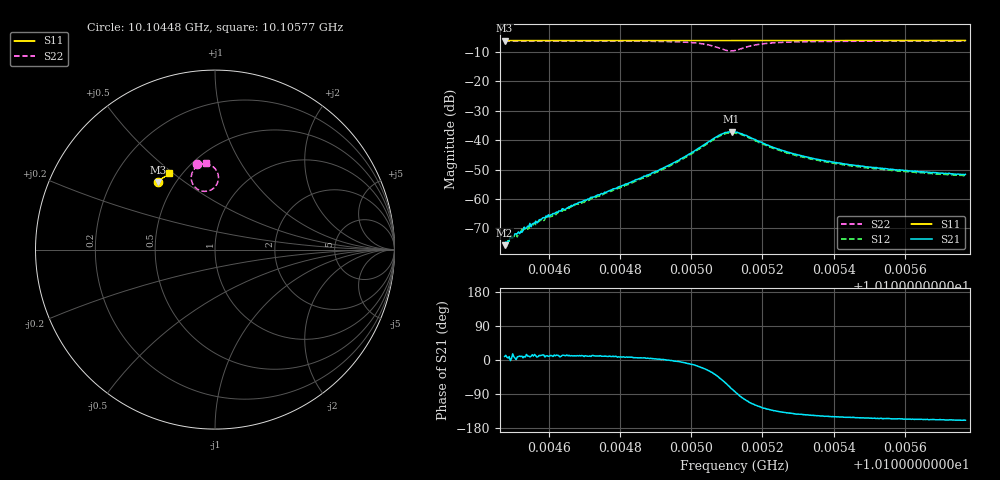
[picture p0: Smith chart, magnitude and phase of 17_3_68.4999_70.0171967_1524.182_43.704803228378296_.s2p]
#  HZ  S  RI  R  50.00
! Rohde & Schwarz Vector Network Analyzer
! Rohde-Schwarz,ZNB20-2Port,1311601062101988,3.16
! Created: UTC 3/20/2024, 4:49:16 PM
! freq[Hz]  re:S11  im:S11  re:S21  im:S21  re:S12  im:S12  re:S22  im:S22
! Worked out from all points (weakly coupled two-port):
!   401 points, 10.10448 GHz to 10.10577 GHz, reference 50 ohm
!   highest |S21| = -37.09 dB at 10.10511 GHz (marker M1); lowest = -75.8 dB at 10.10448 GHz (marker M2)
!   lowest |S11| = -6.2 dB at 10.10448 GHz (marker M3), VSWR 2.94, Z = 20.2 + j20 ohm
!   |S11| at or under -10 dB: nowhere
!   |S22| runs from -9.7 to -6.3 dB; largest |S21 - S12| = 0.0015
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1.0104476e10  -0.3178 0.3763  0.000159 2.58e-05  0.000162 3.27e-05  -0.0997 0.4747
1.0104498e10  -0.3168 0.3774  0.000206 5.98e-05  0.000216 6.04e-05  -0.0976 0.4753
1.0104518e10  -0.316 0.3783  0.000253 4.54e-05  0.000245 9.46e-05  -0.0958 0.4754
1.0104524e10  -0.3156 0.3784  0.000267 4.8e-05  0.000289 9.82e-05  -0.0952 0.4756
1.010454e10  -0.3147 0.3791  0.000339 6.19e-05  0.000294 8.35e-05  -0.0938 0.4759
1.0104573e10  -0.3134 0.3804  0.000431 9.17e-05  0.000406 9.26e-05  -0.0907 0.4766
1.0104579e10  -0.3131 0.3807  0.000439 9.83e-05  0.000418 0.000123  -0.09 0.4767
1.0104634e10  -0.3104 0.383  0.000611 0.000107  0.0006 0.000194  -0.0843 0.4774
1.0104692e10  -0.3079 0.3853  0.000877 0.000183  0.000819 0.000233  -0.0778 0.4783
1.0104909e10  -0.2975 0.394  0.00309 0.000134  0.00296 0.000386  -0.0395 0.4758
1.0105006e10  -0.2926 0.3975  0.00622 -0.00139  0.0061 -0.000818  -0.00144 0.4532
1.0105061e10  -0.2897 0.3992  0.00867 -0.00602  0.00879 -0.005  0.0195 0.3971
1.0105091e10  -0.2884 0.4  0.00732 -0.0108  0.00797 -0.00966  -0.00331 0.3464
1.0105113e10  -0.2877 0.4006  0.00339 -0.0136  0.00456 -0.0126  -0.0511 0.3247
1.0105123e10  -0.2872 0.4009  0.00154 -0.0136  0.00263 -0.0129  -0.0737 0.3264
1.0105159e10  -0.2861 0.4022  -0.00366 -0.011  -0.00269 -0.0109  -0.1252 0.3679
1.0105204e10  -0.2841 0.4043  -0.00531 -0.00698  -0.00439 -0.00713  -0.1306 0.417
1.0105269e10  -0.281 0.4069  -0.00481 -0.0041  -0.00422 -0.00433  -0.1151 0.4491
1.010534e10  -0.2775 0.4095  -0.00408 -0.00275  -0.00369 -0.00296  -0.0994 0.4636
1.0105443e10  -0.2724 0.4133  -0.00336 -0.00183  -0.00306 -0.00206  -0.083 0.4732
1.0105557e10  -0.2667 0.4175  -0.00288 -0.00138  -0.00269 -0.00157  -0.0696 0.4783
1.010577e10  -0.256 0.4246  -0.00244 -0.000937  -0.00222 -0.0011  -0.0496 0.4834
